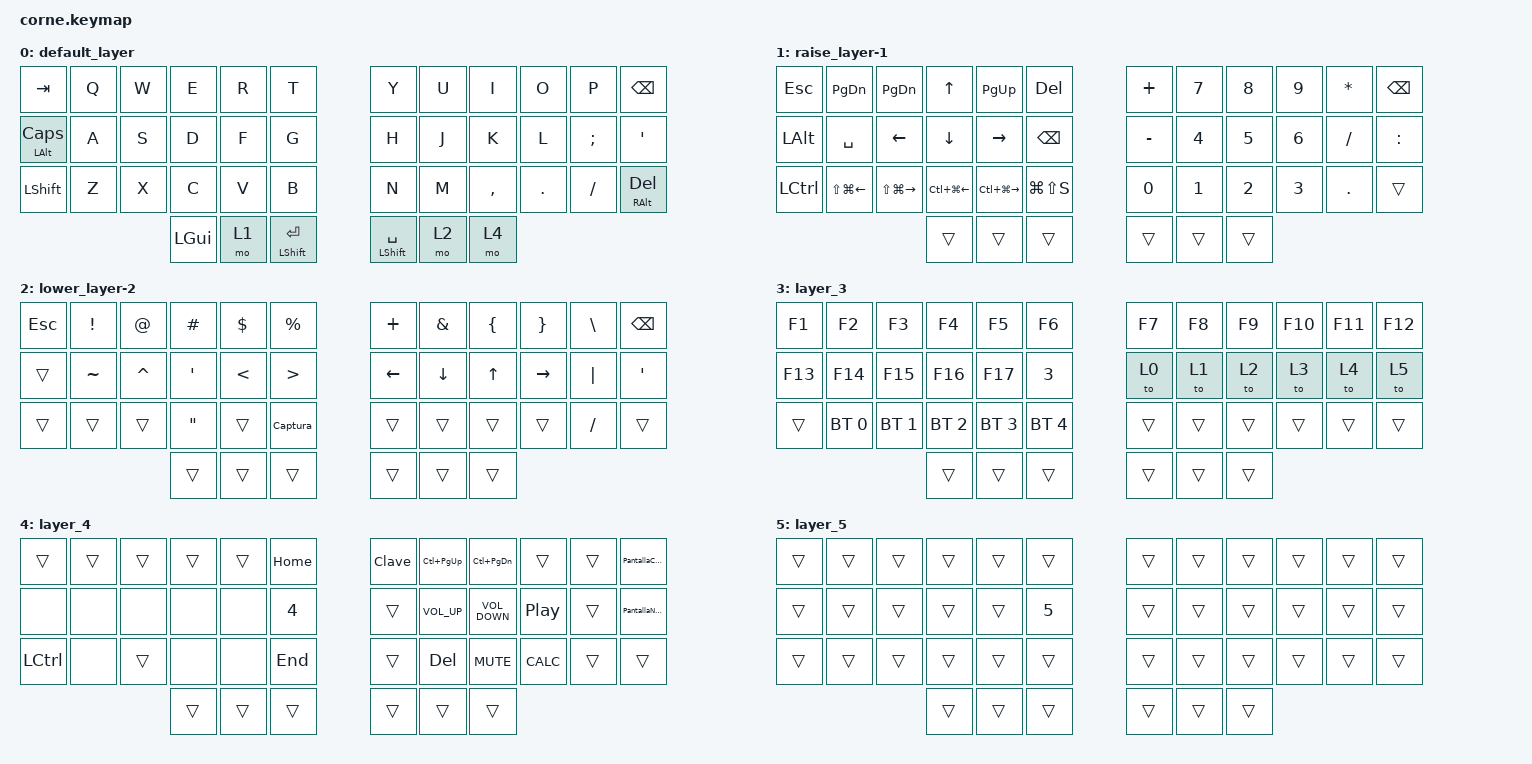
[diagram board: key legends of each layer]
/*
 * Copyright (c) 2020 The ZMK Contributors
 *
 * SPDX-License-Identifier: MIT
 */

#include <behaviors.dtsi>
#include <dt-bindings/zmk/bt.h>
#include <dt-bindings/zmk/keys.h>

/ {
    combos {
        compatible = "zmk,combos";

        Backspace {
            bindings = <&kp BACKSPACE>;
            key-positions = <19 20>;
        };

        Copiar {
            bindings = <&kp LC(C)>;
            key-positions = <3 2>;
        };

        Pegar {
            bindings = <&kp LC(V)>;
            key-positions = <14 15>;
        };

        PegaTex {
            bindings = <&kp LS(LC(V))>;
            key-positions = <26 27>;
        };

        Cortar {
            bindings = <&kp LC(X)>;
            key-positions = <2 3 4>;
        };

        alt-tab {
            bindings = <&kp LA(TAB)>;
            key-positions = <14 15 16>;
        };

        Borrar-palabra {
            bindings = <&kp LC(BACKSPACE)>;
            key-positions = <19 20 21>;
        };

        Soft-Off {
            bindings = <&soft_off>;
            key-positions = <0 35>;
        };
    };

    behaviors {
        new_behavior: new_behavior {
            compatible = "zmk,behavior-tap-dance";
            label = "NEW_BEHAVIOR";
            #binding-cells = <0>;
            bindings = <&kp N>, <&kp RA(N)>;
        };
    };

    macros {
        Captura: M1 {
            compatible = "zmk,behavior-macro";
            #binding-cells = <0>;
            bindings = <&kp LG(LS(S))>;
            label = "M1";
        };

        Clave: Clave {
            compatible = "zmk,behavior-macro";
            #binding-cells = <0>;
            bindings =
                <&kp UP_ARROW>,
                <&macro_wait_time 500>,
                <&kp DOWN>,
                <&macro_wait_time 40>,
                <&kp LS(F) &kp A &kp B &kp I &kp A &kp N &kp DOT &kp N1 &kp N6>,
                <&macro_wait_time 500>,
                <&kp ENTER>;

            label = "CLAVE";
        };

        PantallaCompleta: PantallaCompleta {
            compatible = "zmk,behavior-macro";
            #binding-cells = <0>;
            bindings = <&kp LALT &kp Z &kp R &kp M &kp M &kp RET>;
            label = "PANTALLACOMPLETA";
        };

        PantallaNormal: PantallaNormal {
            compatible = "zmk,behavior-macro";
            #binding-cells = <0>;
            bindings = <&kp LEFT_ALT &kp Z &kp R &kp M &kp RET>;
            label = "PANTALLANORMAL";
        };

        ActualizarT: ActualizarT {
            compatible = "zmk,behavior-macro";
            #binding-cells = <0>;
            bindings = <&kp LEFT_ALT &kp D &kp K &kp N1 &kp A>;
            label = "ACTUALIZART";
        };
    };

    keymap {
        compatible = "zmk,keymap";

        default_layer {
            // -----------------------------------------------------------------------------------------

            bindings = <
&kp TAB            &kp Q  &kp W  &kp E     &kp R  &kp T               &kp Y             &kp U  &kp I      &kp O    &kp P     &kp BSPC
&mt LEFT_ALT CAPS  &kp A  &kp S  &kp D     &kp F  &kp G               &kp H             &kp J  &kp K      &kp L    &kp SEMI  &kp SQT
&kp LSHFT          &kp Z  &kp X  &kp C     &kp V  &kp B               &kp N             &kp M  &kp COMMA  &kp DOT  &kp FSLH  &mt RIGHT_ALT DEL
                                 &kp LGUI  &mo 1  &mt LSHIFT ENTER    &mt LSHIFT SPACE  &mo 2  &mo 4
            >;
        };

        raise_layer-1 {
            bindings = <
&kp ESC    &kp PAGE_DOWN     &kp PAGE_DOWN            &kp UP_ARROW            &kp PAGE_UP        &kp DEL          &kp PLUS   &kp N7        &kp N8        &kp N9        &kp ASTRK   &kp BSPC
&kp LALT   &kp SPACE         &kp LEFT_ARROW           &kp DOWN_ARROW          &kp RIGHT          &kp BACKSPACE    &kp MINUS  &kp NUMBER_4  &kp N5        &kp NUMBER_6  &kp SLASH   &kp COLON
&kp LCTRL  &kp LS(LG(LEFT))  &kp LS(LG(RIGHT_ARROW))  &kp LC(LG(LEFT_ARROW))  &kp LC(LG(RIGHT))  &kp LG(LS(S))    &kp N0     &kp NUMBER_1  &kp NUMBER_2  &kp NUMBER_3  &kp PERIOD  &trans
                                                      &trans                  &trans             &trans           &trans     &trans        &trans
            >;
        };

        lower_layer-2 {
            bindings = <
&kp ESC  &kp EXCL   &kp AT     &kp HASH           &kp DOLLAR     &kp PERCENT         &kp PLUS  &kp AMPERSAND  &kp LEFT_BRACE  &kp RIGHT_BRACE  &kp BACKSLASH  &kp BSPC
&trans   &kp TILDE  &kp CARET  &kp APOS           &kp LESS_THAN  &kp GREATER_THAN    &kp LEFT  &kp DOWN       &kp UP          &kp RIGHT        &kp PIPE       &kp SINGLE_QUOTE
&trans   &trans     &trans     &kp DOUBLE_QUOTES  &trans         &Captura            &trans    &trans         &trans          &trans           &kp SLASH      &trans
                               &trans             &trans         &trans              &trans    &trans         &trans
            >;
        };

        layer_3 {
            bindings = <
&kp F1   &kp F2        &kp F3        &kp F4        &kp F5        &kp F6          &kp F7  &kp F8  &kp F9  &kp F10  &kp F11  &kp F12
&kp F13  &kp F14       &kp F15       &kp F16       &kp F17       &kp NUMBER_3    &to 0   &to 1   &to 2   &to 3    &to 4    &to 5
&trans   &bt BT_SEL 0  &bt BT_SEL 1  &bt BT_SEL 2  &bt BT_SEL 3  &bt BT_SEL 4    &trans  &trans  &trans  &trans   &trans   &trans
                                     &trans        &trans        &trans          &trans  &trans  &trans
            >;
        };

        layer_4 {
            bindings = <
&trans     &trans  &trans  &trans  &trans  &kp HOME        &Clave  &kp LC(PAGE_UP)  &kp LC(PAGE_DOWN)  &trans            &trans  &PantallaCompleta
&none      &none   &none   &none   &none   &kp NUMBER_4    &trans  &kp K_VOLUME_UP  &kp K_VOLUME_DOWN  &kp C_PLAY_PAUSE  &trans  &PantallaNormal
&kp LCTRL  &none   &trans  &none   &none   &kp END         &trans  &kp DEL          &kp C_MUTE         &kp K_CALC        &trans  &trans
                           &trans  &trans  &trans          &trans  &trans           &trans
            >;
        };

        layer_5 {
            bindings = <
&trans  &trans  &trans  &trans  &trans  &trans    &trans  &trans  &trans  &trans  &trans  &trans
&trans  &trans  &trans  &trans  &trans  &kp N5    &trans  &trans  &trans  &trans  &trans  &trans
&trans  &trans  &trans  &trans  &trans  &trans    &trans  &trans  &trans  &trans  &trans  &trans
                        &trans  &trans  &trans    &trans  &trans  &trans
            >;
        };
    };

    conditional_layers {
        compatible = "zmk,conditional-layers";

        capa4 {
            if-layers = <1 2>;
            then-layer = <3>;
        };

        capa5 {
            if-layers = <1 4>;
            then-layer = <5>;
        };
    };
};
